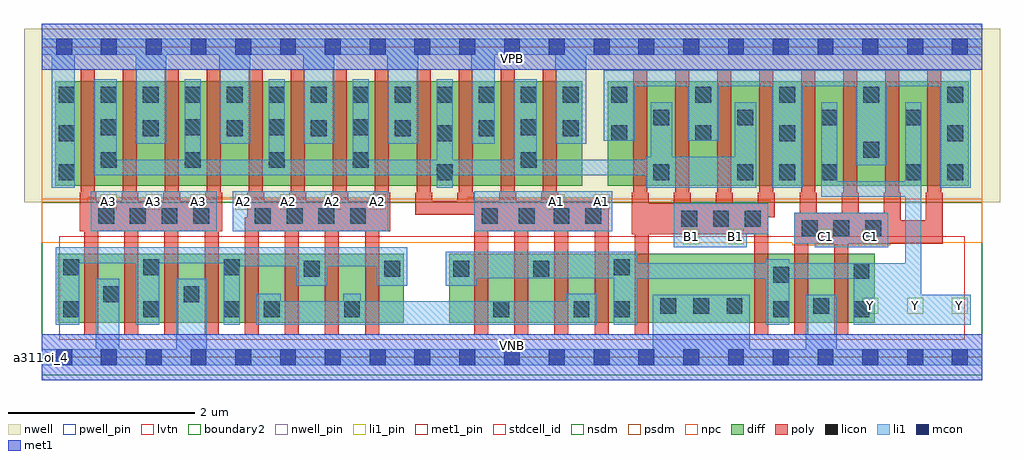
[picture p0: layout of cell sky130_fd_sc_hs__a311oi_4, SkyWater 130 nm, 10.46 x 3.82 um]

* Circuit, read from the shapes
.subckt sky130_fd_sc_hs__a311oi_4 A1 A2 A3 B1 C1 VGND VNB VPB VPWR Y
XM1 VGND A3 n1 VNB sky130_fd_pr__nfet_01v8_lvt w=0.74 l=0.15 m=4
XM2 n2 A2 n1 VNB sky130_fd_pr__nfet_01v8_lvt w=0.74 l=0.15 m=4
XM3 n2 A1 Y VNB sky130_fd_pr__nfet_01v8_lvt w=0.74 l=0.15 m=4
XM4 VGND B1 Y VNB sky130_fd_pr__nfet_01v8_lvt w=0.74 l=0.15 m=2
XM5 VGND C1 Y VNB sky130_fd_pr__nfet_01v8_lvt w=0.74 l=0.15 m=2
XM6 n3 A3 VPWR VPB sky130_fd_pr__pfet_01v8 w=1.12 l=0.15 m=4
XM7 n3 A2 VPWR VPB sky130_fd_pr__pfet_01v8 w=1.12 l=0.15 m=4
XM8 n3 A1 VPWR VPB sky130_fd_pr__pfet_01v8 w=1.12 l=0.15 m=4
XM9 n3 B1 n4 VPB sky130_fd_pr__pfet_01v8 w=1.12 l=0.15 m=4
XM10 Y C1 n4 VPB sky130_fd_pr__pfet_01v8 w=1.12 l=0.15 m=4
.ends

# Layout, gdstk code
import gdstk
lib = gdstk.Library(unit=1e-6, precision=1e-09)
def R(c, l, rs):  # rectangles x0, y0, x1, y1
    for r in rs: c.add(gdstk.rectangle(r[:2], r[2:], *l))
def A(c, l, x, y, w, h, nx, ny, dx, dy):  # array of equal rectangles
    R(c, l, [(x+i*dx, y+j*dy, x+i*dx+w, y+j*dy+h) for i in range(nx) for j in range(ny)])
def P(c, l, *ps):  # polygons
    for p in ps: c.add(gdstk.Polygon(p, *l))
nwell_pin = (64, 16)
nwell = (64, 20)
diff = (65, 20)
poly = (66, 20)
licon = (66, 44)
li1_pin = (67, 16)
li1 = (67, 20)
mcon = (67, 44)
met1_pin = (68, 16)
met1 = (68, 20)
stdcell_id = (81, 4)
nsdm = (93, 44)
psdm = (94, 20)
npc = (95, 20)
pwell_pin = (122, 16)
lvtn = (125, 44)
boundary2 = (236, 0)

sky130_fd_sc_hs__a311oi_ = lib.new_cell('sky130_fd_sc_hs__a311oi_4')
R(sky130_fd_sc_hs__a311oi_, nwell_pin, [(0,3.085,10.08,3.33)])
R(sky130_fd_sc_hs__a311oi_, nwell, [(-0.19,1.66,10.27,3.52)])
R(sky130_fd_sc_hs__a311oi_, diff, [(0.17,0.37,3.88,1.11), (4.37,0.37,8.93,1.11), (0.145,1.84,5.795,2.96), (6.065,1.84,9.935,2.96)])
P(sky130_fd_sc_hs__a311oi_, poly, [(1.935,1.765),(1.92,1.765),(1.92,3.09),(1.77,3.09),(1.77,1.765),(1.755,1.765),(1.755,1.68),(1.485,1.68),(1.485,1.765),(1.47,1.765),(1.47,3.09),(1.32,3.09),(1.32,1.765),(1.305,1.765),(1.305,1.68),(1.035,1.68),(1.035,1.765),(1.02,1.765),(1.02,3.09),(0.87,3.09),(0.87,1.765),(0.855,1.765),(0.855,1.68),(0.585,1.68),(0.585,1.765),(0.57,1.765),(0.57,3.09),(0.42,3.09),(0.42,1.765),(0.405,1.765),(0.405,1.35),(0.455,1.35),(0.455,0.24),(0.605,0.24),(0.605,1.35),(0.885,1.35),(0.885,0.24),(1.035,0.24),(1.035,1.35),(1.315,1.35),(1.315,0.24),(1.465,0.24),(1.465,1.35),(1.745,1.35),(1.745,0.24),(1.895,0.24),(1.895,1.35),(1.935,1.35)],
  [(3.735,1.765),(3.72,1.765),(3.72,3.09),(3.57,3.09),(3.57,1.765),(3.555,1.765),(3.555,1.68),(3.285,1.68),(3.285,1.765),(3.27,1.765),(3.27,3.09),(3.12,3.09),(3.12,1.765),(3.105,1.765),(3.105,1.68),(2.835,1.68),(2.835,1.765),(2.82,1.765),(2.82,3.09),(2.67,3.09),(2.67,1.765),(2.655,1.765),(2.655,1.68),(2.385,1.68),(2.385,1.765),(2.37,1.765),(2.37,3.09),(2.22,3.09),(2.22,1.765),(2.205,1.765),(2.205,1.5),(2.175,1.5),(2.175,0.24),(2.325,0.24),(2.325,1.35),(2.605,1.35),(2.605,0.24),(2.755,0.24),(2.755,1.35),(3.035,1.35),(3.035,0.24),(3.185,0.24),(3.185,1.35),(3.465,1.35),(3.465,0.24),(3.615,0.24),(3.615,1.35),(3.735,1.35)],
  [(6.075,1.68),(5.535,1.68),(5.535,1.765),(5.52,1.765),(5.52,3.09),(5.37,3.09),(5.37,1.765),(5.355,1.765),(5.355,1.68),(5.085,1.68),(5.085,1.765),(5.07,1.765),(5.07,3.09),(4.92,3.09),(4.92,1.765),(4.905,1.765),(4.905,1.68),(4.635,1.68),(4.635,1.765),(4.62,1.765),(4.62,3.09),(4.47,3.09),(4.47,1.765),(4.455,1.765),(4.455,1.68),(4.185,1.68),(4.185,1.765),(4.17,1.765),(4.17,3.09),(4.02,3.09),(4.02,1.765),(4.005,1.765),(4.005,1.53),(4.635,1.53),(4.635,0.24),(4.785,0.24),(4.785,1.35),(5.065,1.35),(5.065,0.24),(5.215,0.24),(5.215,1.35),(5.495,1.35),(5.495,0.24),(5.645,0.24),(5.645,1.35),(5.925,1.35),(5.925,0.24),(6.075,0.24)],
  [(7.855,1.765),(7.84,1.765),(7.84,3.09),(7.69,3.09),(7.69,1.765),(7.675,1.765),(7.675,1.65),(7.405,1.65),(7.405,1.765),(7.39,1.765),(7.39,3.09),(7.24,3.09),(7.24,1.765),(7.225,1.765),(7.225,1.65),(6.955,1.65),(6.955,1.765),(6.94,1.765),(6.94,3.09),(6.79,3.09),(6.79,1.765),(6.775,1.765),(6.775,1.65),(6.505,1.65),(6.505,1.765),(6.49,1.765),(6.49,3.09),(6.34,3.09),(6.34,1.765),(6.325,1.765),(6.325,1.32),(6.355,1.32),(6.355,0.24),(6.505,0.24),(6.505,1.32),(7.635,1.32),(7.635,0.24),(7.785,0.24),(7.785,1.5),(7.855,1.5)],
  [(9.655,1.765),(9.64,1.765),(9.64,3.09),(9.49,3.09),(9.49,1.765),(9.475,1.765),(9.475,1.47),(9.205,1.47),(9.205,1.765),(9.19,1.765),(9.19,3.09),(9.04,3.09),(9.04,1.765),(9.025,1.765),(9.025,1.55),(8.755,1.55),(8.755,1.765),(8.74,1.765),(8.74,3.09),(8.59,3.09),(8.59,1.765),(8.575,1.765),(8.575,1.55),(8.305,1.55),(8.305,1.765),(8.29,1.765),(8.29,3.09),(8.14,3.09),(8.14,1.765),(8.125,1.765),(8.125,1.55),(8.065,1.55),(8.065,0.24),(8.215,0.24),(8.215,1.22),(8.495,1.22),(8.495,0.24),(8.645,0.24),(8.645,1.22),(9.655,1.22)])
A(sky130_fd_sc_hs__a311oi_, licon, 0.23, 0.43, 0.17, 0.17, 3, 2, 0.86, 0.45)
A(sky130_fd_sc_hs__a311oi_, licon, 6.63, 0.465, 0.17, 0.17, 3, 1, 0.355, 0)
A(sky130_fd_sc_hs__a311oi_, licon, 8.145, 1.3, 0.17, 0.17, 3, 1, 0.34, 0)
A(sky130_fd_sc_hs__a311oi_, licon, 6.855, 1.4, 0.17, 0.17, 3, 1, 0.34, 0)
A(sky130_fd_sc_hs__a311oi_, licon, 0.605, 1.43, 0.17, 0.17, 4, 1, 0.34, 0)
A(sky130_fd_sc_hs__a311oi_, licon, 2.285, 1.43, 0.17, 0.17, 4, 1, 0.34, 0)
A(sky130_fd_sc_hs__a311oi_, licon, 7.455, 1.9, 0.17, 0.17, 3, 1, 0.45, 0)
A(sky130_fd_sc_hs__a311oi_, licon, 0.635, 2.03, 0.17, 0.17, 4, 2, 0.9, 0.35)
A(sky130_fd_sc_hs__a311oi_, licon, 1.085, 2.37, 0.17, 0.17, 6, 1, 0.9, 0)
A(sky130_fd_sc_hs__a311oi_, licon, 6.555, 2.485, 0.17, 0.17, 4, 1, 0.9, 0)
A(sky130_fd_sc_hs__a311oi_, licon, 0.185, 2.73, 0.17, 0.17, 13, 1, 0.45, 0)
A(sky130_fd_sc_hs__a311oi_, licon, 6.105, 2.73, 0.17, 0.17, 5, 1, 0.9, 0)
R(sky130_fd_sc_hs__a311oi_, licon, [(2.38,0.43,2.55,0.6), (3.24,0.43,3.41,0.6), (4.84,0.43,5.01,0.6), (5.7,0.43,5.87,0.6), (6.13,0.43,6.3,0.6), (7.84,0.43,8.01,0.6), (8.7,0.43,8.87,0.6), (8.27,0.465,8.44,0.635), (0.66,0.59,0.83,0.76), (1.52,0.59,1.69,0.76), (7.84,0.8,8.01,0.97), (8.7,0.84,8.87,1.01), (2.81,0.865,2.98,1.035), (3.67,0.865,3.84,1.035), (4.41,0.865,4.58,1.035), (5.27,0.865,5.44,1.035), (6.13,0.88,6.3,1.05), (4.715,1.43,4.885,1.6), (5.115,1.43,5.285,1.6), (5.485,1.43,5.655,1.6), (5.825,1.43,5.995,1.6), (0.185,1.9,0.355,2.07), (4.235,1.9,4.405,2.07), (6.555,1.9,6.725,2.07), (9.255,1.9,9.425,2.07), (9.705,1.9,9.875,2.07), (5.135,2.03,5.305,2.2), (8.805,2.14,8.975,2.31), (0.185,2.315,0.355,2.485), (4.235,2.315,4.405,2.485), (7.905,2.315,8.075,2.485), (9.705,2.315,9.875,2.485), (6.105,2.32,6.275,2.49), (7.005,2.32,7.175,2.49), (5.135,2.38,5.305,2.55)])
A(sky130_fd_sc_hs__a311oi_, li1_pin, 8.795, 0.47, 0.17, 0.17, 3, 1, 0.48, 0)
A(sky130_fd_sc_hs__a311oi_, li1_pin, 0.635, 1.58, 0.17, 0.17, 7, 1, 0.48, 0)
R(sky130_fd_sc_hs__a311oi_, li1_pin, [(6.875,1.21,7.045,1.38), (7.355,1.21,7.525,1.38), (8.315,1.21,8.485,1.38), (8.795,1.21,8.965,1.38), (5.435,1.58,5.605,1.75), (5.915,1.58,6.085,1.75)])
R(sky130_fd_sc_hs__a311oi_, li1, [(0.525,1.35,1.875,1.78), (2.045,1.35,3.715,1.78), (4.635,1.35,6.115,1.78)])
P(sky130_fd_sc_hs__a311oi_, li1, [(5.505,2.29),(5.505,3.245),(4.855,3.245),(4.855,2.29),(4.605,2.29),(4.605,3.245),(4.035,3.245),(4.035,2.29),(3.705,2.29),(3.705,3.245),(3.135,3.245),(3.135,2.29),(2.805,2.29),(2.805,3.245),(2.235,3.245),(2.235,2.29),(1.905,2.29),(1.905,3.245),(1.335,3.245),(1.335,2.29),(1.005,2.29),(1.005,3.245),(0.355,3.245),(0.355,1.82),(0.105,1.82),(0.105,3.245),(0,3.245),(0,3.415),(10.08,3.415),(10.08,3.245),(5.835,3.245),(5.835,2.29)],
  [(1.44,0.085),(1.44,0.84),(1.77,0.84),(1.77,0.085),(6.55,0.085),(6.55,0.67),(7.59,0.67),(7.59,0.085),(8.19,0.085),(8.19,0.67),(8.52,0.67),(8.52,0.085),(10.08,0.085),(10.08,-0.085),(0,-0.085),(0,0.085),(0.58,0.085),(0.58,0.84),(0.83,0.84),(0.83,0.085)],
  [(9.255,1.01),(9.255,1.72),(8.355,1.72),(8.355,2.735),(8.525,2.735),(8.525,1.89),(9.255,1.89),(9.255,2.735),(9.425,2.735),(9.425,0.67),(9.955,0.67),(9.955,0.35),(8.7,0.35),(8.7,0.84),(8.01,0.84),(8.01,0.35),(7.76,0.35),(7.76,0.84),(6.38,0.84),(6.38,0.35),(6.13,0.35),(6.13,0.85),(4.66,0.85),(4.66,0.77),(4.33,0.77),(4.33,1.13),(6.38,1.13),(6.38,1.01),(7.76,1.01),(7.76,1.05),(8.01,1.05),(8.01,1.01)],
  [(9.955,3.075),(6.025,3.075),(6.025,2.32),(6.355,2.32),(6.355,2.905),(6.925,2.905),(6.925,2.32),(7.255,2.32),(7.255,2.905),(7.825,2.905),(7.825,1.82),(8.155,1.82),(8.155,2.905),(8.725,2.905),(8.725,2.06),(9.055,2.06),(9.055,2.905),(9.625,2.905),(9.625,1.82),(9.955,1.82)],
  [(7.655,2.735),(7.425,2.735),(7.425,2.15),(6.755,2.15),(6.755,2.735),(6.525,2.735),(6.525,2.15),(6.475,2.15),(6.475,2.12),(5.305,2.12),(5.305,2.98),(5.055,2.98),(5.055,2.12),(4.405,2.12),(4.405,2.98),(4.235,2.98),(4.235,2.12),(3.505,2.12),(3.505,2.98),(3.335,2.98),(3.335,2.12),(2.605,2.12),(2.605,2.98),(2.435,2.98),(2.435,2.12),(1.705,2.12),(1.705,2.98),(1.535,2.98),(1.535,2.12),(0.805,2.12),(0.805,2.98),(0.555,2.98),(0.555,1.95),(4.235,1.95),(4.235,1.82),(4.405,1.82),(4.405,1.95),(6.475,1.95),(6.475,1.82),(7.655,1.82)],
  [(3.92,1.18),(0.15,1.18),(0.15,0.35),(0.4,0.35),(0.4,1.01),(1.01,1.01),(1.01,0.35),(1.26,0.35),(1.26,1.01),(1.95,1.01),(1.95,0.35),(2.12,0.35),(2.12,0.975),(2.73,0.975),(2.73,0.77),(3.06,0.77),(3.06,0.975),(3.59,0.975),(3.59,0.77),(3.92,0.77)],
  [(5.95,0.68),(5.62,0.68),(5.62,0.6),(3.42,0.6),(3.42,0.68),(3.23,0.68),(3.23,0.6),(2.56,0.6),(2.56,0.68),(2.3,0.68),(2.3,0.35),(5.95,0.35)],
  [(8.065,1.22),(8.065,1.55),(9.075,1.55),(9.075,1.18),(8.285,1.18),(8.285,1.22)],
  [(6.775,1.65),(7.785,1.65),(7.785,1.32),(7.555,1.32),(7.555,1.18),(6.775,1.18)])
A(sky130_fd_sc_hs__a311oi_, mcon, 0.155, -0.085, 0.17, 0.17, 21, 2, 0.48, 3.33)
R(sky130_fd_sc_hs__a311oi_, met1_pin, [(0,0,10.08,0.245), (0,3.085,10.08,3.33)])
R(sky130_fd_sc_hs__a311oi_, met1, [(0,-0.245,10.08,0.245), (0,3.085,10.08,3.575)])
R(sky130_fd_sc_hs__a311oi_, stdcell_id, [(0,0,10.08,3.33)])
R(sky130_fd_sc_hs__a311oi_, nsdm, [(0,-0.19,10.08,1.66)])
P(sky130_fd_sc_hs__a311oi_, psdm, [(10.08,3.52),(0,3.52),(0,1.66),(0.495,1.66),(0.495,1.71),(3.585,1.71),(3.585,1.66),(4.56,1.66),(4.56,1.71),(6.105,1.71),(6.105,1.66),(6.745,1.66),(6.745,1.68),(7.815,1.68),(7.815,1.66),(10.08,1.66)])
P(sky130_fd_sc_hs__a311oi_, npc, [(10.08,1.7),(0,1.7),(0,1.23),(8.045,1.23),(8.045,1.2),(9.095,1.2),(9.095,1.23),(10.08,1.23)])
R(sky130_fd_sc_hs__a311oi_, pwell_pin, [(0,0,10.08,0.245)])
R(sky130_fd_sc_hs__a311oi_, lvtn, [(0.19,0.19,9.89,1.3)])
R(sky130_fd_sc_hs__a311oi_, boundary2, [(0,0,10.08,3.33)])
sky130_fd_sc_hs__a311oi_.add(gdstk.Label('a311oi_4', (0,0), layer=83, texttype=44))
sky130_fd_sc_hs__a311oi_.add(gdstk.Label('VNB', (5.04,0.123), layer=64, texttype=59))
sky130_fd_sc_hs__a311oi_.add(gdstk.Label('VPB', (5.04,3.208), layer=64, texttype=5))
sky130_fd_sc_hs__a311oi_.add(gdstk.Label('VPWR', (5.04,3.208), layer=68, texttype=5))
sky130_fd_sc_hs__a311oi_.add(gdstk.Label('VGND', (5.04,0.123), layer=68, texttype=5))
sky130_fd_sc_hs__a311oi_.add(gdstk.Label('Y', (8.88,0.555), layer=67, texttype=5))
sky130_fd_sc_hs__a311oi_.add(gdstk.Label('Y', (9.36,0.555), layer=67, texttype=5))
sky130_fd_sc_hs__a311oi_.add(gdstk.Label('Y', (9.84,0.555), layer=67, texttype=5))
sky130_fd_sc_hs__a311oi_.add(gdstk.Label('C1', (8.4,1.295), layer=67, texttype=5))
sky130_fd_sc_hs__a311oi_.add(gdstk.Label('C1', (8.88,1.295), layer=67, texttype=5))
sky130_fd_sc_hs__a311oi_.add(gdstk.Label('B1', (6.96,1.295), layer=67, texttype=5))
sky130_fd_sc_hs__a311oi_.add(gdstk.Label('B1', (7.44,1.295), layer=67, texttype=5))
sky130_fd_sc_hs__a311oi_.add(gdstk.Label('A3', (0.72,1.665), layer=67, texttype=5))
sky130_fd_sc_hs__a311oi_.add(gdstk.Label('A3', (1.2,1.665), layer=67, texttype=5))
sky130_fd_sc_hs__a311oi_.add(gdstk.Label('A3', (1.68,1.665), layer=67, texttype=5))
sky130_fd_sc_hs__a311oi_.add(gdstk.Label('A2', (2.16,1.665), layer=67, texttype=5))
sky130_fd_sc_hs__a311oi_.add(gdstk.Label('A2', (2.64,1.665), layer=67, texttype=5))
sky130_fd_sc_hs__a311oi_.add(gdstk.Label('A2', (3.12,1.665), layer=67, texttype=5))
sky130_fd_sc_hs__a311oi_.add(gdstk.Label('A2', (3.6,1.665), layer=67, texttype=5))
sky130_fd_sc_hs__a311oi_.add(gdstk.Label('A1', (5.52,1.665), layer=67, texttype=5))
sky130_fd_sc_hs__a311oi_.add(gdstk.Label('A1', (6,1.665), layer=67, texttype=5))

lib.write_gds('sky130_fd_sc_hs__a311oi_4.gds')
